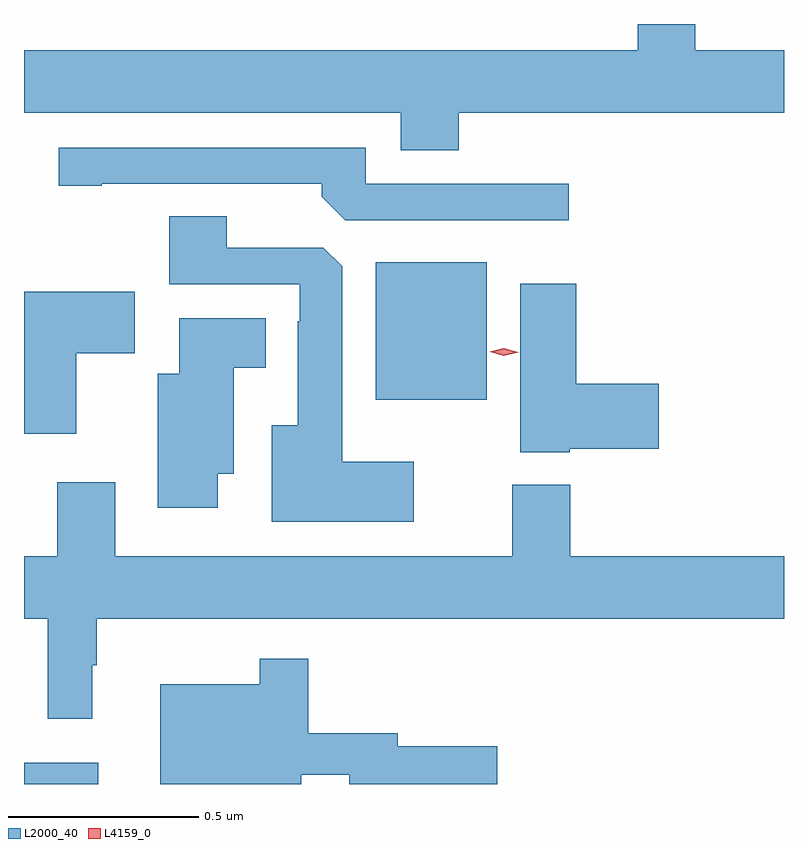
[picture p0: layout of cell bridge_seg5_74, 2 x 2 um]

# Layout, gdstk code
import gdstk
lib = gdstk.Library(unit=1e-6, precision=1e-09)
def R(c, l, rs):  # rectangles x0, y0, x1, y1
    for r in rs: c.add(gdstk.rectangle(r[:2], r[2:], *l))
def P(c, l, *ps):  # polygons
    for p in ps: c.add(gdstk.Polygon(p, *l))
L2000_40 = (2000, 40)
L4159_0 = (4159, 0)

bridge_seg5_74 = lib.new_cell('bridge_seg5_74')
R(bridge_seg5_74, L2000_40, [(135.85,910.937,136.045,910.993), (136.775,911.948,137.068,912.31)])
P(bridge_seg5_74, L2000_40, [(136.994,912.704),(137.85,912.704),(137.85,912.868),(137.616,912.868),(137.616,912.937),(137.465,912.937),(137.465,912.868),(135.85,912.868),(135.85,912.704),(136.841,912.704),(136.841,912.605),(136.994,912.605)],
  [(137.284,912.516),(136.749,912.516),(136.749,912.612),(135.942,912.612),(135.942,912.511),(136.054,912.511),(136.054,912.516),(136.634,912.516),(136.634,912.482),(136.695,912.42),(137.284,912.42)],
  [(136.876,911.785),(136.687,911.785),(136.687,912.299),(136.638,912.348),(136.384,912.348),(136.384,912.431),(136.232,912.431),(136.232,912.252),(136.575,912.252),(136.575,912.155),(136.571,912.155),(136.571,911.881),(136.502,911.881),(136.502,911.627),(136.876,911.627)],
  [(137.286,911.819),(137.521,911.819),(137.521,911.99),(137.303,911.99),(137.303,912.253),(137.156,912.253),(137.156,911.81),(137.286,911.81)],
  [(135.988,912.07),(136.141,912.07),(136.141,912.232),(135.85,912.232),(135.85,911.859),(135.988,911.859)],
  [(136.36,911.753),(136.402,911.753),(136.402,912.032),(136.486,912.032),(136.486,912.163),(136.259,912.163),(136.259,912.016),(136.202,912.016),(136.202,911.664),(136.36,911.664)],
  [(136.03,911.249),(136.042,911.249),(136.042,911.372),(137.85,911.372),(137.85,911.536),(137.288,911.536),(137.288,911.725),(137.135,911.725),(137.135,911.536),(136.09,911.536),(136.09,911.731),(135.938,911.731),(135.938,911.536),(135.85,911.536),(135.85,911.372),(135.913,911.372),(135.913,911.109),(136.03,911.109)],
  [(136.579,910.961),(136.706,910.961),(136.706,910.937),(137.095,910.937),(137.095,911.037),(136.834,911.037),(136.834,911.071),(136.598,911.071),(136.598,911.266),(136.47,911.266),(136.47,911.2),(136.208,911.2),(136.208,910.937),(136.579,910.937)])
P(bridge_seg5_74, L4159_0, [(137.113,912.064),(137.075,912.075),(137.074,912.075),(137.075,912.075),(137.113,912.084),(137.151,912.073),(137.152,912.073),(137.151,912.073)])

lib.write_gds('bridge_seg5_74.gds')
